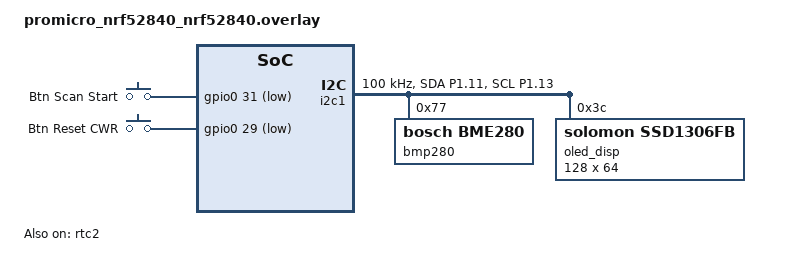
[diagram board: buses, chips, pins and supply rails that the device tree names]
&i2c1 {
	compatible = "nordic,nrf-twim";
	status = "okay";
	pinctrl-0 = <&i2c1_default>;
	pinctrl-1 = <&i2c1_sleep>;
	pinctrl-names = "default", "sleep";
	clock-frequency = <100000>;
	bmp280: bme280@77 {
		compatible = "bosch,bme280";
		status = "okay";
		reg = <0x77>;
	};
	oled_disp: ssd1306@3c {
		compatible = "solomon,ssd1306fb";
		status = "okay";
		reg = <0x3c>;
		height = <64>;
		width = <128>;
		display-offset = <0>;
		segment-offset = <0>;
		page-offset = <0>;
		multiplex-ratio = <63>;
		prechargep = <0x22>;
	};
};

&pinctrl {
	i2c1_default: i2c1_default {
		group1 {
			psels = <NRF_PSEL(TWIM_SDA, 1, 11)>,
			<NRF_PSEL(TWIM_SCL, 1, 13)>;
		};
	};
	i2c1_sleep: i2c1_sleep {
		group1 {
			psels = <NRF_PSEL(TWIM_SDA, 1, 11)>,
			<NRF_PSEL(TWIM_SCL, 1, 13)>;
			low-power-enable;
		};
	};
};

&rtc2 {
	status = "okay";
};

/ {
	buttons {
		compatible = "gpio-keys";
		btn_scan: btn_2 {
			gpios = <&gpio0 31 GPIO_ACTIVE_LOW>;
			label = "Btn Scan Start";
		};
		btn_reset_cwr: btn_1 {
			gpios = <&gpio0 29 GPIO_ACTIVE_LOW>;
			label = "Btn Reset CWR";
		};

	};

	chosen {
		zephyr,display = &oled_disp;
	};
};
